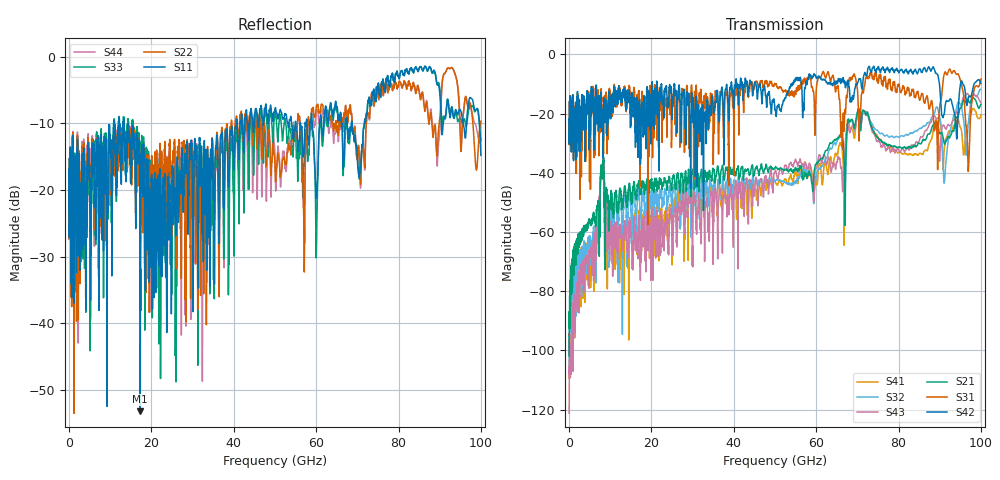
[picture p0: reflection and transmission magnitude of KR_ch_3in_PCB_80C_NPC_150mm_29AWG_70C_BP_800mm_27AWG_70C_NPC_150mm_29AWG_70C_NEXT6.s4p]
# GHz S RI R 45
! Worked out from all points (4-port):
!   4000 points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, 25 MHz to 100 GHz, reference 45 ohm
!   strongest paths, dB at 25 MHz, 25.02 GHz, 50.02 GHz, 75.03 GHz, 100 GHz:
!     S42: -21.8, -20.6, -18.8, -4.2, -9.7
!     S31: -21.8, -15.8, -10.0, -9.3, -8.4
!     S21: -101.9, -43.4, -38.3, -28.3, -17.0
!     S43: -121.3, -59.5, -39.5, -29.5, -16.4
!     S32: -107.9, -51.4, -42.9, -25.9, -11.9
!     S41: -109.5, -66.9, -43.0, -28.0, -20.5
!   lowest |S11| = -53.2 dB at 17.3 GHz (marker M1), VSWR 1.00, Z = 45.2 - j0.0837 ohm
!   |S11| at or under -10 dB: start of sweep to 10.89 GHz; 13.4 GHz to 40.64 GHz (27.24 GHz wide, 101 % of centre); 68.72 GHz to 71.7 GHz (2.978 GHz wide, 4.24 % of centre) (the widest 3 of 32)
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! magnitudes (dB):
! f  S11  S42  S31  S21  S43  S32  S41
! 25 MHz  -17.3  -21.8  -21.8  -101.9  -121.3  -107.9  -109.5
! 8.05 GHz  -25.6  -23.2  -24.4  -40.7  -37.6  -39.4  -38.2
! 17.3 GHz  -53.2  -29.4  -22.4  -46.0  -70.0  -52.5  -58.5
! 72.05 GHz  -9.4  -7.1  -7.8  -20.3  -20.6  -20.4  -20.0
! 91.25 GHz  -9.0  -18.2  -6.1  -30.3  -24.8  -41.5  -30.2
! 96.85 GHz  -7.7  -15.3  -36.1  -15.2  -13.4  -24.4  -23.8
! 100 GHz  -14.8  -9.7  -8.4  -17.0  -16.4  -11.9  -20.5
